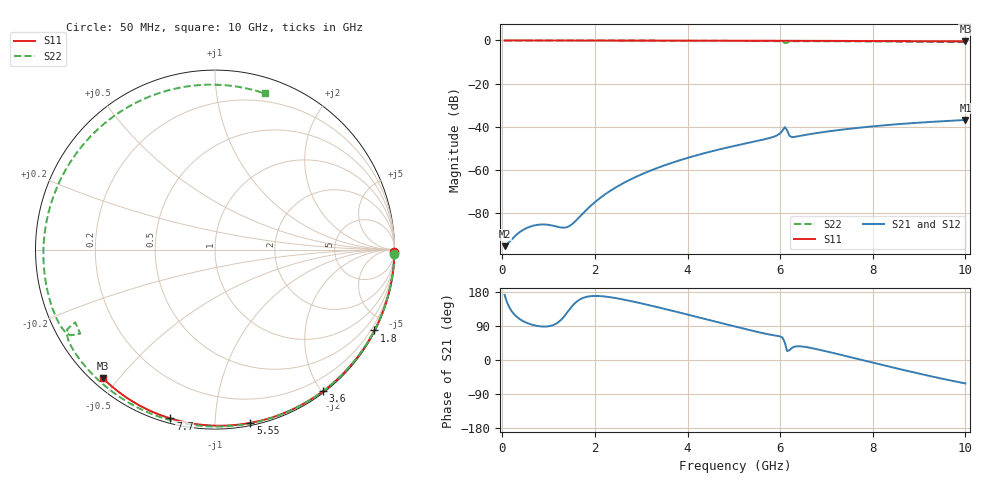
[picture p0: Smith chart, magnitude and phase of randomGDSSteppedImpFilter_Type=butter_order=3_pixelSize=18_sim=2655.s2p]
! freq	dB(S11)	phase(S11)	dB(S12)	phase(S12)
!  dB(S21)	phase(S21)	dB(S22)	phase(S22)
!S-par simulation data
#  GHz  S  DB  R 50
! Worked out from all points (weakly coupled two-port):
!   200 points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, 50 MHz to 10 GHz, reference 50 ohm
!   highest |S21| = -36.79 dB at 10 GHz (marker M1); lowest = -95.2 dB at 50 MHz (marker M2)
!   lowest |S11| = -0.4 dB at 10 GHz (marker M3), VSWR 39.31, Z = 1.53 - j22.7 ohm
!   |S11| at or under -10 dB: nowhere
!   |S22| runs from -1.1 to 0.0 dB; largest |S21 - S12| = 0
!   S11 on the Smith chart (normalised r, x): 50 MHz: open; 1.8 GHz: 0.04, -4.19; 3.6 GHz: 0.02, -2.03; 5.55 GHz: 0.02, -1.22; 7.7 GHz: 0.02, -0.77; 10 GHz: 0.03, -0.45
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0.05  -0.00 -0.8  -95.20 171.9  -95.20 171.9  -0.00 -1.3
0.85  -0.01 -12.8  -85.16 88.5  -85.16 88.5  -0.02 -21.7
1.75  -0.03 -26.1  -79.84 164.1  -79.84 164.1  -0.06 -44.2
1.8  -0.03 -26.9  -78.75 166.0  -78.75 166.0  -0.06 -45.4
2.1  -0.04 -31.2  -73.09 168.7  -73.09 168.7  -0.07 -52.8
2.45  -0.05 -36.3  -68.01 163.3  -68.01 163.3  -0.08 -61.3
3.4  -0.07 -49.8  -58.59 138.0  -58.59 138.0  -0.11 -84.2
3.6  -0.07 -52.5  -57.07 132.0  -57.07 132.0  -0.12 -89.0
4.3  -0.09 -62.1  -52.53 110.7  -52.53 110.7  -0.15 -105.7
5.05  -0.11 -72.0  -48.62 87.7  -48.62 87.7  -0.20 -123.8
5.55  -0.13 -78.5  -46.29 73.0  -46.29 73.0  -0.24 -136.4
5.95  -0.14 -83.5  -43.72 63.5  -43.72 63.5  -0.33 -147.7
6.1  -0.15 -85.4  -40.07 46.3  -40.07 46.3  -1.13 -152.5
6.15  -0.15 -86.0  -41.59 23.8  -41.59 23.8  -1.06 -148.1
6.2  -0.15 -86.7  -44.10 25.6  -44.10 25.6  -0.57 -149.3
6.25  -0.16 -87.3  -44.70 31.6  -44.70 31.6  -0.41 -151.5
6.7  -0.18 -92.8  -43.14 30.9  -43.14 30.9  -0.34 -165.3
7.7  -0.24 -104.8  -40.40 2.1  -40.40 2.1  -0.46 164.4
8.35  -0.29 -112.4  -39.08 -17.2  -39.08 -17.2  -0.55 142.1
9.25  -0.36 -122.7  -37.70 -42.8  -37.70 -42.8  -0.68 106.3
9.65  -0.40 -127.2  -37.20 -53.3  -37.20 -53.3  -0.74 88.6
10  -0.44 -131.1  -36.79 -61.8  -36.79 -61.8  -0.79 72.4
